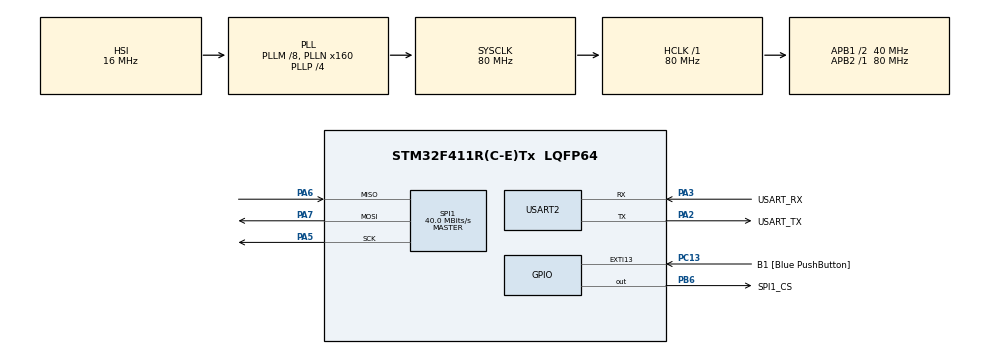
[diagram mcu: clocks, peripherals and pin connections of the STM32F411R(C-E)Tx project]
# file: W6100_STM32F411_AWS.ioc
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Dma.Request0=SPI1_TX
Dma.Request1=SPI1_RX
Dma.SPI1_RX.1.Direction=DMA_PERIPH_TO_MEMORY
Dma.SPI1_RX.1.FIFOMode=DMA_FIFOMODE_DISABLE
Dma.SPI1_RX.1.Instance=DMA2_Stream0
Dma.SPI1_RX.1.MemDataAlignment=DMA_MDATAALIGN_BYTE
Dma.SPI1_RX.1.MemInc=DMA_MINC_ENABLE
Dma.SPI1_RX.1.Mode=DMA_NORMAL
Dma.SPI1_RX.1.PeriphDataAlignment=DMA_PDATAALIGN_BYTE
Dma.SPI1_RX.1.PeriphInc=DMA_PINC_DISABLE
Dma.SPI1_RX.1.Priority=DMA_PRIORITY_HIGH
Dma.SPI1_TX.0.Direction=DMA_MEMORY_TO_PERIPH
Dma.SPI1_TX.0.FIFOMode=DMA_FIFOMODE_DISABLE
Dma.SPI1_TX.0.Instance=DMA2_Stream2
Dma.SPI1_TX.0.MemDataAlignment=DMA_MDATAALIGN_BYTE
Dma.SPI1_TX.0.MemInc=DMA_MINC_ENABLE
Dma.SPI1_TX.0.Mode=DMA_NORMAL
Dma.SPI1_TX.0.PeriphDataAlignment=DMA_PDATAALIGN_BYTE
Dma.SPI1_TX.0.PeriphInc=DMA_PINC_DISABLE
Dma.SPI1_TX.0.Priority=DMA_PRIORITY_HIGH
Mcu.Family=STM32F4
Mcu.Name=STM32F411R(C-E)Tx
Mcu.Package=LQFP64
NVIC.DMA2_Stream0_IRQn=true\:0\:0\:false\:false\:true\:false\:true\:true
NVIC.DMA2_Stream2_IRQn=true\:0\:0\:false\:false\:true\:false\:true\:true
NVIC.PriorityGroup=NVIC_PRIORITYGROUP_0
NVIC.SPI1_IRQn=true\:0\:0\:false\:false\:true\:true\:true\:true
NVIC.TIM1_UP_TIM10_IRQn=true\:0\:0\:false\:false\:true\:true\:true\:true
PA13.GPIO_Label=TMS
PA13.Mode=Serial_Wire
PA13.Signal=SYS_JTMS-SWDIO
PA14.GPIO_Label=TCK
PA14.Mode=Serial_Wire
PA14.Signal=SYS_JTCK-SWCLK
PA2.GPIO_Label=USART_TX
PA2.Mode=Asynchronous
PA2.Signal=USART2_TX
PA3.GPIO_Label=USART_RX
PA3.Mode=Asynchronous
PA3.Signal=USART2_RX
PA5.Mode=Full_Duplex_Master
PA5.Signal=SPI1_SCK
PA6.Mode=Full_Duplex_Master
PA6.Signal=SPI1_MISO
PA7.Mode=Full_Duplex_Master
PA7.Signal=SPI1_MOSI
PB3.GPIO_Label=SWO
PB3.Signal=SYS_JTDO-SWO
PB6.GPIO_Label=SPI1_CS
PB6.Signal=GPIO_Output
PC13-ANTI_TAMP.GPIO_Label=B1 [Blue PushButton]
PC13-ANTI_TAMP.GPIO_ModeDefaultEXTI=GPIO_MODE_IT_FALLING
PC13-ANTI_TAMP.Signal=GPXTI13
PC14-OSC32_IN.Mode=LSE-External-Oscillator
PC14-OSC32_IN.Signal=RCC_OSC32_IN
PC15-OSC32_OUT.Mode=LSE-External-Oscillator
PC15-OSC32_OUT.Signal=RCC_OSC32_OUT
PH0\ -\ OSC_IN.Mode=HSE-External-Clock-Source
PH0\ -\ OSC_IN.Signal=RCC_OSC_IN
PH1\ -\ OSC_OUT.Mode=HSE-External-Clock-Source
PH1\ -\ OSC_OUT.Signal=RCC_OSC_OUT
ProjectManager.HeapSize=0x10000
ProjectManager.StackSize=0x400
ProjectManager.TargetToolchain=MDK-ARM V5.32
RCC.48MHZClocksFreq_Value=80000000
RCC.AHBFreq_Value=80000000
RCC.APB1CLKDivider=RCC_HCLK_DIV2
RCC.APB1Freq_Value=40000000
RCC.APB1TimFreq_Value=80000000
RCC.APB2Freq_Value=80000000
RCC.APB2TimFreq_Value=80000000
RCC.CortexFreq_Value=80000000
RCC.FLatency-AdvancedSettings=FLASH_LATENCY_2
RCC.HCLKFreq_Value=80000000
RCC.HSE_VALUE=8000000
RCC.HSI_VALUE=16000000
RCC.PLLM=8
RCC.PLLN=160
RCC.PLLP=RCC_PLLP_DIV4
RCC.SYSCLKFreq_VALUE=80000000
RCC.SYSCLKSource=RCC_SYSCLKSOURCE_PLLCLK
RCC.VCOOutputFreq_Value=320000000
SPI1.CalculateBaudRate=40.0 MBits/s
SPI1.Direction=SPI_DIRECTION_2LINES
SPI1.Mode=SPI_MODE_MASTER
SPI1.VirtualType=VM_MASTER
TIM1.AutoReloadPreload=TIM_AUTORELOAD_PRELOAD_ENABLE
TIM1.Period=799
TIM1.Prescaler=100
TIM1.RepetitionCounter=0
USART2.VirtualMode=VM_ASYNC
VP_TIM1_VS_ClockSourceINT.Mode=Internal
board=NUCLEO-F411RE

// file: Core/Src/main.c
/* USER CODE BEGIN Header */
/**
  ******************************************************************************
  * @file           : main.c
  * @brief          : Main program body
  ******************************************************************************
  * @attention
  *
  * Copyright (c) 2023 STMicroelectronics.
  * All rights reserved.
  *
  * This software is licensed under terms that can be found in the LICENSE file
  * in the root directory of this software component.
  * If no LICENSE file comes with this software, it is provided AS-IS.
  *
  ******************************************************************************
  */
/* USER CODE END Header */
#include "main.h"

/* USER CODE BEGIN Includes */

#include <stdio.h>
#include <stdarg.h>

#include "wizchip_conf.h"
#include "w6x00_spi.h"

#include "dhcpv4.h"
#include "dns.h"
#include "timer.h"

#include "mqtt_transport_interface.h"
#include "ssl_transport_interface.h"
#include "timer_interface.h"

#include "mqtt_certificate.h"

/* USER CODE END Includes */

/* USER CODE BEGIN PD */

/* Buffer */
#define ETHERNET_BUF_MAX_SIZE (1024 * 2)

/* Socket */
#define SOCKET_MQTT 0
#define SOCKET_DHCP 1
// socket number 3 is used in dns interface

/* Retry count */
#define DHCP_RETRY_COUNT 5

/* Port */
#define TARGET_PORT 8883

/* MQTT */
#define MQTT_PUB_PERIOD (1000 * 10) // 10 seconds

/* AWS IoT */
#define MQTT_DOMAIN "account-specific-prefix-ats.iot.ap-northeast-2.amazonaws.com"
#define MQTT_PUB_TOPIC "$aws/things/my_iot_device/shadow/update"
#define MQTT_SUB_TOPIC "$aws/things/my_iot_device/shadow/update/accepted"
#define MQTT_USERNAME NULL
#define MQTT_PASSWORD NULL
#define MQTT_CLIENT_ID "my_iot_device"

/* USER CODE END PD */

SPI_HandleTypeDef hspi1;
DMA_HandleTypeDef hdma_spi1_tx;
DMA_HandleTypeDef hdma_spi1_rx;

TIM_HandleTypeDef htim1;

UART_HandleTypeDef huart2;

/* USER CODE BEGIN PV */

/* Network */

static wiz_NetInfo g_net_info =
    {
        .mac = {0x00, 0x08, 0xDC, 0x12, 0x34, 0x56}, // MAC address
        .ip = {192, 168, 11, 110},                     // IP address
        .sn = {255, 255, 255, 0},                    // Subnet Mask
        .gw = {192, 168, 11, 1},                     // Gateway
        .dns = {8, 8, 8, 8},                         // DNS server
        .lla = {0xfe, 0x80, 0x00, 0x00,
                0x00, 0x00, 0x00, 0x00,
                0x02, 0x08, 0xdc, 0xff,
                0xfe, 0x57, 0x57, 0x25},             // Link Local Address
        .gua = {0x00, 0x00, 0x00, 0x00,
                0x00, 0x00, 0x00, 0x00,
                0x00, 0x00, 0x00, 0x00,
                0x00, 0x00, 0x00, 0x00},             // Global Unicast Address
        .sn6 = {0xff, 0xff, 0xff, 0xff,
                0xff, 0xff, 0xff, 0xff,
                0x00, 0x00, 0x00, 0x00,
                0x00, 0x00, 0x00, 0x00},             // IPv6 Prefix
        .gw6 = {0x00, 0x00, 0x00, 0x00,
                0x00, 0x00, 0x00, 0x00,
                0x00, 0x00, 0x00, 0x00,
                0x00, 0x00, 0x00, 0x00},             // Gateway IPv6 Address
        .dns6 = {0x20, 0x01, 0x48, 0x60,
                0x48, 0x60, 0x00, 0x00,
                0x00, 0x00, 0x00, 0x00,
                0x00, 0x00, 0x88, 0x88},             // DNS6 server
        .ipmode = NETINFO_DHCP_V4
};
static uint8_t g_ethernet_buf[ETHERNET_BUF_MAX_SIZE] = {
    0,
};
static uint8_t g_mqtt_buf[MQTT_BUF_MAX_SIZE] = {
    0,
};
static uint8_t g_mqtt_pub_msg_buf[MQTT_BUF_MAX_SIZE] = {
    0,
};

/* SSL */
tlsContext_t g_mqtt_tls_context;

/* DNS */
uint8_t IP_TYPE = 0x1;

/* DHCP */
static void wizchip_dhcp_init(void);
static void wizchip_dhcp_assign(void);
static void wizchip_dhcp_conflict(void);

/* USER CODE END PV */

void SystemClock_Config(void);
static void MX_GPIO_Init(void);
static void MX_DMA_Init(void);
static void MX_SPI1_Init(void);
static void MX_USART2_UART_Init(void);
static void MX_TIM1_Init(void);
/* USER CODE BEGIN PFP */
#define PUTCHAR_PROTOTYPE int fputc(int ch, FILE *f)

PUTCHAR_PROTOTYPE
{
    /* Implement your write code here, this is used by puts and printf for example */

    /* Place your implementation of fputc here */
    /* e.g. write a character to the USART */

    uint8_t c[1];
    c[0] = ch & 0x00FF;
    HAL_UART_Transmit(&huart2, &c[0], 1, 10);
    return ch;
}
/* USER CODE END PFP */

int main(void)
{
  /* USER CODE BEGIN 1 */

	int retval = 0;
	uint8_t dhcp_retry = 0;
	uint8_t dns_retry = 0;
	uint32_t tick_start = 0;
  uint32_t tick_end = 0;
  uint32_t pub_cnt = 0;

  /* USER CODE END 1 */

  /* MCU Configuration--------------------------------------------------------*/

  /* Reset of all peripherals, Initializes the Flash interface and the Systick. */
  HAL_Init();

  /* Configure the system clock */
  SystemClock_Config();

  /* Initialize all configured peripherals */
  MX_GPIO_Init();
  MX_DMA_Init();
  MX_SPI1_Init();
  MX_USART2_UART_Init();
  MX_TIM1_Init();
  /* USER CODE BEGIN 2 */

	HAL_Delay(2000);
	printf("[DEBUG] Hello\r\n");
  /* Initialize */

  wizchip_spi_initialize();
  //wizchip_cris_initialize();

  wizchip_reset();
  wizchip_initialize();
  wizchip_check();

  wizchip_1ms_timer_initialize(repeating_timer_callback);
  network_initialize(g_net_info);

  if (g_net_info.ipmode == NETINFO_DHCP_V4) // DHCP
  {
    wizchip_dhcp_init();
    while (1)
    {
      retval = DHCPv4_run();
      if (retval == DHCP_IPV4_LEASED)
      {
        printf(" DHCP success\n");
        break;
      }
      else if (retval == DHCPV4_FAILED)
      {
        dhcp_retry++;
        if (dhcp_retry <= DHCP_RETRY_COUNT)
          printf(" DHCP timeout occurred and retry %d\n", dhcp_retry);
      }

      if (dhcp_retry > DHCP_RETRY_COUNT)
      {
        printf(" DHCP failed\n");
        DHCPv4_stop();
        while (1);
      }
    }
  }
  else
    print_network_information(g_net_info);

  /* Setup certificate */
  g_mqtt_tls_context.rootca_option = MBEDTLS_SSL_VERIFY_REQUIRED; // use Root CA verify
  g_mqtt_tls_context.clica_option = 1;                            // use client certificate
  g_mqtt_tls_context.root_ca = mqtt_root_ca;
  g_mqtt_tls_context.client_cert = mqtt_client_cert;
  g_mqtt_tls_context.private_key = mqtt_private_key;

  retval = mqtt_transport_init(true, MQTT_CLIENT_ID, NULL, NULL, MQTT_KEEP_ALIVE);
  retval = mqtt_transport_connect(SOCKET_MQTT, 1, g_mqtt_buf, MQTT_BUF_MAX_SIZE, MQTT_DOMAIN, TARGET_PORT, &g_mqtt_tls_context);

  if (retval != 0)
  {
    printf(" Failed, mqtt_transport_connect returned %d\n", retval);
    while (1);
  }
  retval = mqtt_transport_subscribe(0, MQTT_SUB_TOPIC);

  if (retval != 0)
  {
      printf(" Failed, mqtt_transport_subscribe returned %d\n", retval);
      while (1);
  }

  tick_start = millis();
  /* USER CODE END 2 */

  /* Infinite loop */
  /* USER CODE BEGIN WHILE */
  while (1)
  {
    if (g_net_info.ipmode == NETINFO_DHCP_V4) // DHCP
      DHCPv4_run();
    retval = mqtt_transport_yield(MQTT_YIELD_TIMEOUT);

    if (retval != 0)
    {
      printf(" Failed, mqtt_transport_yield returned %d\n", retval);
      while (1);
    }

    tick_end = millis();

    if (tick_end > tick_start + MQTT_PUB_PERIOD)
    {
        tick_start = millis();
        sprintf(g_mqtt_pub_msg_buf, "{\"message\":\"Hello, World!\", \"publish count\":\"%d\"}\n", pub_cnt++);
        mqtt_transport_publish(MQTT_PUB_TOPIC, g_mqtt_pub_msg_buf, strlen(g_mqtt_pub_msg_buf), 0);
    }

    /* USER CODE END WHILE */

  }
}

void SystemClock_Config(void)
{
  RCC_OscInitTypeDef RCC_OscInitStruct = {0};
  RCC_ClkInitTypeDef RCC_ClkInitStruct = {0};

  /** Configure the main internal regulator output voltage
  */
  __HAL_RCC_PWR_CLK_ENABLE();
  __HAL_PWR_VOLTAGESCALING_CONFIG(PWR_REGULATOR_VOLTAGE_SCALE1);

  /** Initializes the RCC Oscillators according to the specified parameters
  * in the RCC_OscInitTypeDef structure.
  */
  RCC_OscInitStruct.OscillatorType = RCC_OSCILLATORTYPE_HSI;
  RCC_OscInitStruct.HSIState = RCC_HSI_ON;
  RCC_OscInitStruct.HSICalibrationValue = RCC_HSICALIBRATION_DEFAULT;
  RCC_OscInitStruct.PLL.PLLState = RCC_PLL_ON;
  RCC_OscInitStruct.PLL.PLLSource = RCC_PLLSOURCE_HSI;
  RCC_OscInitStruct.PLL.PLLM = 8;
  RCC_OscInitStruct.PLL.PLLN = 160;
  RCC_OscInitStruct.PLL.PLLP = RCC_PLLP_DIV4;
  RCC_OscInitStruct.PLL.PLLQ = 4;
  if (HAL_RCC_OscConfig(&RCC_OscInitStruct) != HAL_OK)
  {
    Error_Handler();
  }

  /** Initializes the CPU, AHB and APB buses clocks
  */
  RCC_ClkInitStruct.ClockType = RCC_CLOCKTYPE_HCLK|RCC_CLOCKTYPE_SYSCLK
                              |RCC_CLOCKTYPE_PCLK1|RCC_CLOCKTYPE_PCLK2;
  RCC_ClkInitStruct.SYSCLKSource = RCC_SYSCLKSOURCE_PLLCLK;
  RCC_ClkInitStruct.AHBCLKDivider = RCC_SYSCLK_DIV1;
  RCC_ClkInitStruct.APB1CLKDivider = RCC_HCLK_DIV2;
  RCC_ClkInitStruct.APB2CLKDivider = RCC_HCLK_DIV1;

  if (HAL_RCC_ClockConfig(&RCC_ClkInitStruct, FLASH_LATENCY_2) != HAL_OK)
  {
    Error_Handler();
  }
}

static void MX_SPI1_Init(void)
{

  /* SPI1 parameter configuration*/
  hspi1.Instance = SPI1;
  hspi1.Init.Mode = SPI_MODE_MASTER;
  hspi1.Init.Direction = SPI_DIRECTION_2LINES;
  hspi1.Init.DataSize = SPI_DATASIZE_8BIT;
  hspi1.Init.CLKPolarity = SPI_POLARITY_LOW;
  hspi1.Init.CLKPhase = SPI_PHASE_1EDGE;
  hspi1.Init.NSS = SPI_NSS_SOFT;
  hspi1.Init.BaudRatePrescaler = SPI_BAUDRATEPRESCALER_2;
  hspi1.Init.FirstBit = SPI_FIRSTBIT_MSB;
  hspi1.Init.TIMode = SPI_TIMODE_DISABLE;
  hspi1.Init.CRCCalculation = SPI_CRCCALCULATION_DISABLE;
  hspi1.Init.CRCPolynomial = 10;
  if (HAL_SPI_Init(&hspi1) != HAL_OK)
  {
    Error_Handler();
  }

}

static void MX_TIM1_Init(void)
{

  TIM_ClockConfigTypeDef sClockSourceConfig = {0};
  TIM_MasterConfigTypeDef sMasterConfig = {0};

  htim1.Instance = TIM1;
  htim1.Init.Prescaler = 100;
  htim1.Init.CounterMode = TIM_COUNTERMODE_UP;
  htim1.Init.Period = 799;
  htim1.Init.ClockDivision = TIM_CLOCKDIVISION_DIV1;
  htim1.Init.RepetitionCounter = 0;
  htim1.Init.AutoReloadPreload = TIM_AUTORELOAD_PRELOAD_ENABLE;
  if (HAL_TIM_Base_Init(&htim1) != HAL_OK)
  {
    Error_Handler();
  }
  sClockSourceConfig.ClockSource = TIM_CLOCKSOURCE_INTERNAL;
  if (HAL_TIM_ConfigClockSource(&htim1, &sClockSourceConfig) != HAL_OK)
  {
    Error_Handler();
  }
  sMasterConfig.MasterOutputTrigger = TIM_TRGO_RESET;
  sMasterConfig.MasterSlaveMode = TIM_MASTERSLAVEMODE_DISABLE;
  if (HAL_TIMEx_MasterConfigSynchronization(&htim1, &sMasterConfig) != HAL_OK)
  {
    Error_Handler();
  }

}

static void MX_USART2_UART_Init(void)
{

  huart2.Instance = USART2;
  huart2.Init.BaudRate = 115200;
  huart2.Init.WordLength = UART_WORDLENGTH_8B;
  huart2.Init.StopBits = UART_STOPBITS_1;
  huart2.Init.Parity = UART_PARITY_NONE;
  huart2.Init.Mode = UART_MODE_TX_RX;
  huart2.Init.HwFlowCtl = UART_HWCONTROL_NONE;
  huart2.Init.OverSampling = UART_OVERSAMPLING_16;
  if (HAL_UART_Init(&huart2) != HAL_OK)
  {
    Error_Handler();
  }

}

static void MX_DMA_Init(void)
{

  /* DMA controller clock enable */
  __HAL_RCC_DMA2_CLK_ENABLE();

  /* DMA interrupt init */
  /* DMA2_Stream0_IRQn interrupt configuration */
  HAL_NVIC_SetPriority(DMA2_Stream0_IRQn, 0, 0);
  HAL_NVIC_EnableIRQ(DMA2_Stream0_IRQn);
  /* DMA2_Stream2_IRQn interrupt configuration */
  HAL_NVIC_SetPriority(DMA2_Stream2_IRQn, 0, 0);
  HAL_NVIC_EnableIRQ(DMA2_Stream2_IRQn);

}

static void MX_GPIO_Init(void)
{
  GPIO_InitTypeDef GPIO_InitStruct = {0};

  /* GPIO Ports Clock Enable */
  __HAL_RCC_GPIOC_CLK_ENABLE();
  __HAL_RCC_GPIOH_CLK_ENABLE();
  __HAL_RCC_GPIOA_CLK_ENABLE();
  __HAL_RCC_GPIOB_CLK_ENABLE();

  /*Configure GPIO pin Output Level */
  HAL_GPIO_WritePin(SPI1_CS_GPIO_Port, SPI1_CS_Pin, GPIO_PIN_RESET);

  /*Configure GPIO pin : B1_Pin */
  GPIO_InitStruct.Pin = B1_Pin;
  GPIO_InitStruct.Mode = GPIO_MODE_IT_FALLING;
  GPIO_InitStruct.Pull = GPIO_NOPULL;
  HAL_GPIO_Init(B1_GPIO_Port, &GPIO_InitStruct);

  /*Configure GPIO pin : SPI1_CS_Pin */
  GPIO_InitStruct.Pin = SPI1_CS_Pin;
  GPIO_InitStruct.Mode = GPIO_MODE_OUTPUT_PP;
  GPIO_InitStruct.Pull = GPIO_NOPULL;
  GPIO_InitStruct.Speed = GPIO_SPEED_FREQ_LOW;
  HAL_GPIO_Init(SPI1_CS_GPIO_Port, &GPIO_InitStruct);

}

/* USER CODE BEGIN 4 */

/* DHCP */
static void wizchip_dhcp_init(void)
{
    printf(" DHCP client running\n");

    DHCPv4_init(SOCKET_DHCP, g_ethernet_buf);

    reg_dhcpv4_cbfunc(wizchip_dhcp_assign, wizchip_dhcp_assign, wizchip_dhcp_conflict);
}
static void wizchip_dhcp_assign(void)
{
    getIPfromDHCPv4(g_net_info.ip);
    getGWfromDHCPv4(g_net_info.gw);
    getSNfromDHCPv4(g_net_info.sn);
    getDNSfromDHCPv4(g_net_info.dns);

    g_net_info.ipmode = NETINFO_DHCP_V4;

    /* Network initialize */
    network_initialize(g_net_info); // apply from DHCP

    print_network_information(g_net_info);
    printf(" DHCP leased time : %ld seconds\n", getDHCPv4Leasetime());
}

static void wizchip_dhcp_conflict(void)
{
    printf(" Conflict IP from DHCP\n");

    // halt or reset or any...
    while (1)
        ; // this example is halt.
}

/* USER CODE END 4 */

void Error_Handler(void)
{
  __disable_irq();
  while (1)
  {
  }
}
